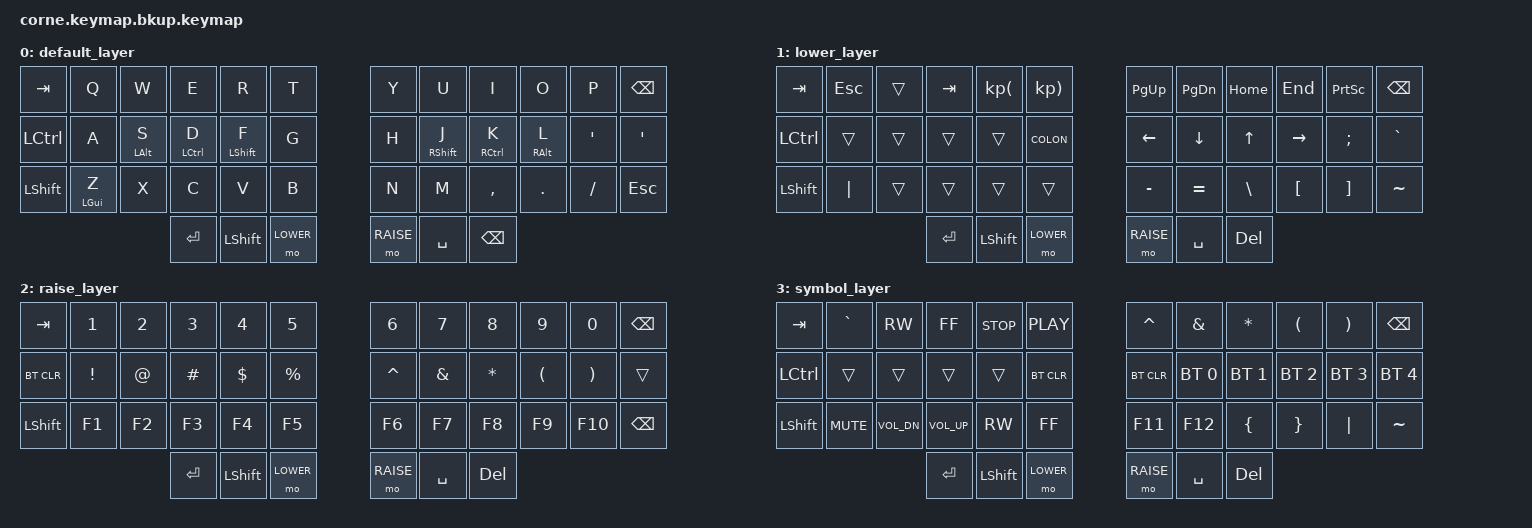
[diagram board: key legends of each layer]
/*
 * Copyright (c) 2020 The ZMK Contributors
 *
 * SPDX-License-Identifier: MIT
 */

#include <behaviors.dtsi>
#include <dt-bindings/zmk/keys.h>
#include <dt-bindings/zmk/bt.h>

#define DEFAULT 0
#define LOWER   1
#define RAISE   2
#define SYMBOL  3


/ {
        behaviors {
        hm: homerow_mods {
            compatible = "zmk,behavior-hold-tap";
            #binding-cells = <2>;
            tapping-term-ms = <150>;
            quick-tap-ms = <0>;
            flavor = "tap-preferred";
            bindings = <&kp>, <&kp>;
             };
        };
        conditional_layers {
        compatible = "zmk,conditional-layers";
        tri_layer {
            if-layers = <1 2>;
            then-layer = <3>;
            };
        };

    keymap {
        compatible = "zmk,keymap";

            default_layer {
// -----------------------------------------------------------------------------------------
// |  TAB |  Q  |  W  |  E  |  R  |  T  |   |  Y  |  U   |  I  |  O  |  P  | BSPC |
// | CTRL |  A  |  S  |  D  |  F  |  G  |   |  H  |  J   |  K  |  L  |  ;  |  '   |
// | SHFT |  Z  |  X  |  C  |  V  |  B  |   |  N  |  M   |  ,  |  .  |  /  | ESC  |
//                    | ENT | SH  | MO1 |   | MO2 |  SPC | BSPC|
                        bindings = <
   &kp TAB   &kp Q      &kp W           &kp E           &kp R         &kp T   &kp Y     &kp U         &kp I         &kp O         &kp P        &kp BSPC
   &kp LCTRL &kp A      &hm LALT S      &hm LCTRL D     &hm LSHIFT F  &kp G   &kp H     &hm RSHIFT J  &hm RCTRL K   &hm RALT L    &kp SQT      &kp SQT
   &kp LSHFT &hm LGUI Z &kp X           &kp C           &kp V         &kp B   &kp N     &kp M         &kp COMMA     &kp DOT       &kp FSLH     &kp ESC
                &kp ENTER &kp LSHIFT &mo LOWER   &mo RAISE &kp SPACE &kp BSPC
                        >;
                };
 
            lower_layer {
// -----------------------------------------------------------------------------------------
// |  TAB | ESC |     | TAB |  (  | )   |   | PGUP|PGDN | HOME| END |PRNTS| xxxxx |
// | CTRL |     |     |     |     |  :  |   | LFT | DWN | UP  | RGHT|  ;  |       |
// | SHFT | "|" |   ~ |     |     |     |   |  -  |  =  |  \  |  [  | ]   |   ~   |
//                    | ENT | SH  | MO1 |   | MO2 | SPC | DEL |
                        bindings = <
   &kp TAB   &kp ESC  &trans  &kp TAB  &kp KP_LPAR  &kp KP_RPAR      &kp PG_UP &kp PG_DN &kp HOME  &kp END   &kp PSCRN &kp BSPC
   &kp LCTRL &trans   &trans  &trans   &trans       &COLON           &kp LEFT  &kp DOWN  &kp UP    &kp RIGHT &kp SEMI  &kp GRAVE
   &kp LSHFT &kp PIPE &trans  &trans   &trans       &trans           &kp MINUS &kp EQUAL &kp BSLH  &kp LBKT  &kp RBKT  &kp TILDE
                &kp ENTER &kp LSHIFT &mo LOWER      &mo RAISE &kp SPACE &kp DELETE
                        >;
                };

            raise_layer {
// -----------------------------------------------------------------------------------------
// |  TAB |  1  |  2  |  3  |  4  |  5  |   |  6  |  7  |  8  |  9  |  0  | BSPC |
// | BTCLR|  !  |  @  |  #  |  $  |  %  |   |  ^  |  &  |  *  |  (  |  )  |      |
// | SHFT |  F1 |  F2 |  F3 |  F4 |  F5 |   |  F6 |  F7 |  F8 |  F9 |  F10|      |
//                    | GUI |     | SPC |   | ENT |     | ALT |
                        bindings = <
   &kp TAB    &kp N1    &kp N2       &kp N3       &kp N4       &kp N5         &kp N6    &kp N7    &kp N8    &kp N9    &kp N0   &kp BSPC
   &bt BT_CLR &kp EXCL  &kp AT       &kp HASH     &kp DLLR     &kp PRCNT      &kp CARET &kp AMPS  &kp ASTRK &kp LPAR  &kp RPAR &trans
   &kp LSHFT  &kp F1    &kp F2       &kp F3       &kp F4       &kp F5         &kp F6    &kp F7    &kp F8    &kp F9    &kp F10   &kp BSPC
                    &kp ENTER &kp LSHIFT &mo LOWER      &mo RAISE &kp SPACE &kp DELETE
                        >;
                };

            symbol_layer {
// -----------------------------------------------------------------------------------------
// |  TAB | `   | REW | FF  |STOP |PLAY |   |     |     |     |     |     | BSPC |
// | CTRL |     |     |     |     |BTCLR|   | BT1 | BT2 | BT3 | BT4 | BT5 |      |
// | SHFT |MUTE |VOL D|VOL U|RWND |NEXT |   | F11 | F12 | "|" |  [  |  ]  |  ~   |
//                    | GUI |     | SPC |   | ENT |     | ALT |
                        bindings = <
   &kp TAB   &kp GRAVE  &kp C_RW     &kp C_FF       &kp C_STOP &kp C_PLAY   &kp CARET   &kp AMPS     &kp ASTRK    &kp LPAR      &kp RPAR        &kp BSPC
   &kp LCTRL &trans     &trans       &trans         &trans     &bt BT_CLR   &bt BT_CLR  &bt BT_SEL 0 &bt BT_SEL 1 &bt BT_SEL 2  &bt BT_SEL 3    &bt BT_SEL 4
   &kp LSHFT &kp C_MUTE &kp C_VOL_DN &kp K_VOL_UP   &kp C_RW   &kp C_FF     &kp F11     &kp F12      &kp LBRC     &kp RBRC      &kp PIPE        &kp TILDE
                    &kp ENTER &kp LSHIFT &mo LOWER     &mo RAISE &kp SPACE &kp DELETE
                        >;
                };
        };
};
